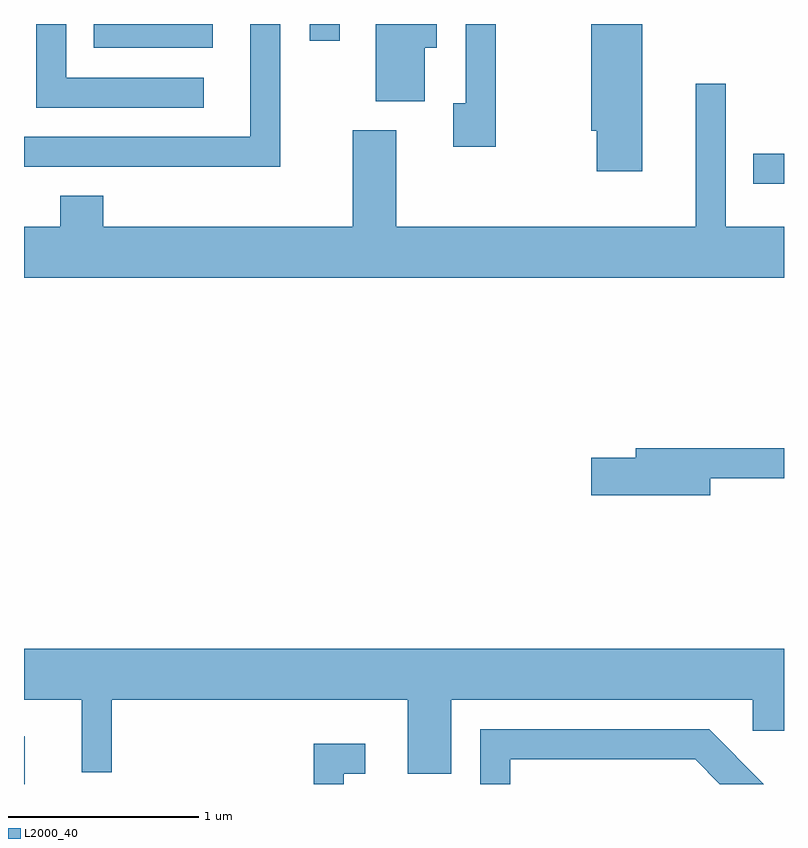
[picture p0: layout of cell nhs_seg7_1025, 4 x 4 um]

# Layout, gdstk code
import gdstk
lib = gdstk.Library(unit=1e-6, precision=1e-09)
def R(c, l, rs):  # rectangles x0, y0, x1, y1
    for r in rs: c.add(gdstk.rectangle(r[:2], r[2:], *l))
def P(c, l, *ps):  # polygons
    for p in ps: c.add(gdstk.Polygon(p, *l))
L2000_40 = (2000, 40)

nhs_seg7_1025 = lib.new_cell('nhs_seg7_1025')
R(nhs_seg7_1025, L2000_40, [(215.611,1778.252,215.614,1778.503), (219.448,1781.411,219.611,1781.569), (215.978,1782.126,216.604,1782.252), (217.116,1782.163,217.274,1782.252)])
P(nhs_seg7_1025, L2000_40, [(218.094,1782.252),(217.936,1782.252),(217.936,1781.834),(217.871,1781.834),(217.871,1781.606),(218.094,1781.606)],
  [(216.558,1781.969),(215.834,1781.969),(215.834,1782.252),(215.676,1782.252),(215.676,1781.811),(216.558,1781.811)],
  [(216.959,1782.252),(216.801,1782.252),(216.801,1781.659),(215.611,1781.659),(215.611,1781.501),(216.959,1781.501)],
  [(217.719,1782.126),(217.784,1782.126),(217.784,1782.252),(217.461,1782.252),(217.461,1781.846),(217.719,1781.846)],
  [(218.864,1782.252),(218.596,1782.252),(218.596,1781.691),(218.626,1781.691),(218.626,1781.476),(218.864,1781.476)],
  [(219.611,1781.184),(219.304,1781.184),(219.304,1781.938),(219.146,1781.938),(219.146,1781.184),(217.569,1781.184),(217.569,1781.694),(217.341,1781.694),(217.341,1781.184),(216.029,1781.184),(216.029,1781.349),(215.801,1781.349),(215.801,1781.184),(215.611,1781.184),(215.611,1780.916),(219.611,1780.916)],
  [(219.224,1779.861),(219.611,1779.861),(219.611,1780.019),(218.831,1780.019),(218.831,1779.969),(218.596,1779.969),(218.596,1779.771),(219.224,1779.771)],
  [(217.859,1778.696),(219.446,1778.696),(219.446,1778.531),(219.611,1778.531),(219.611,1778.964),(215.611,1778.964),(215.611,1778.696),(215.916,1778.696),(215.916,1778.313),(216.074,1778.313),(216.074,1778.696),(217.631,1778.696),(217.631,1778.306),(217.859,1778.306)],
  [(218.169,1778.381),(219.144,1778.381),(219.273,1778.252),(219.504,1778.252),(219.217,1778.539),(218.011,1778.539),(218.011,1778.252),(218.169,1778.252)],
  [(217.294,1778.306),(217.408,1778.306),(217.408,1778.464),(217.136,1778.464),(217.136,1778.252),(217.294,1778.252)])

lib.write_gds('nhs_seg7_1025.gds')
